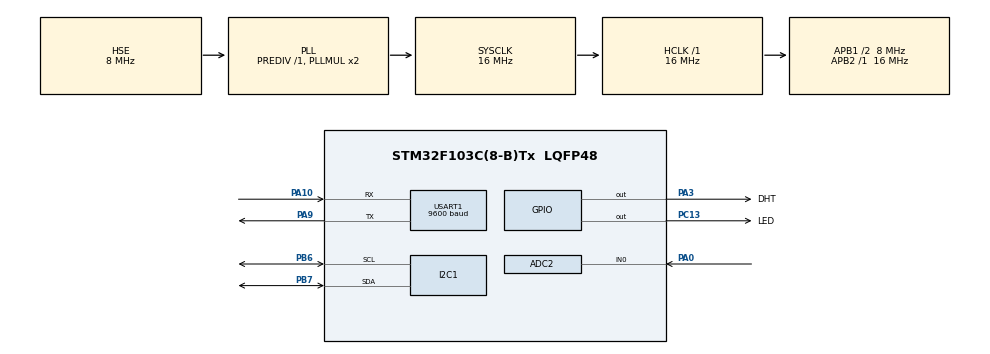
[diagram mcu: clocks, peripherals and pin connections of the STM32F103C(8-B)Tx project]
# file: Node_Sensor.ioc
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ADC1.Channel-2\#ChannelRegularConversion=ADC_CHANNEL_0
ADC1.NbrOfConversionFlag=1
ADC1.Rank-2\#ChannelRegularConversion=1
ADC1.SamplingTime-2\#ChannelRegularConversion=ADC_SAMPLETIME_1CYCLE_5
ADC1.master=1
ADC2.Channel-0\#ChannelRegularConversion=ADC_CHANNEL_0
ADC2.NbrOfConversionFlag=1
ADC2.Rank-0\#ChannelRegularConversion=1
ADC2.SamplingTime-0\#ChannelRegularConversion=ADC_SAMPLETIME_1CYCLE_5
Mcu.Family=STM32F1
Mcu.Name=STM32F103C(8-B)Tx
Mcu.Package=LQFP48
NVIC.PriorityGroup=NVIC_PRIORITYGROUP_4
NVIC.TIM2_IRQn=true\:0\:0\:false\:false\:true\:true\:true\:true
PA0-WKUP.Signal=ADCx_IN0
PA10.Mode=Asynchronous
PA10.Signal=USART1_RX
PA13.Mode=Serial_Wire
PA13.Signal=SYS_JTMS-SWDIO
PA14.Mode=Serial_Wire
PA14.Signal=SYS_JTCK-SWCLK
PA3.GPIO_Label=DHT
PA3.Signal=GPIO_Output
PA9.Mode=Asynchronous
PA9.Signal=USART1_TX
PB6.Mode=I2C
PB6.Signal=I2C1_SCL
PB7.Mode=I2C
PB7.Signal=I2C1_SDA
PC13-TAMPER-RTC.GPIO_Label=LED
PC13-TAMPER-RTC.GPIO_PuPd=GPIO_PULLUP
PC13-TAMPER-RTC.Signal=GPIO_Output
PD0-OSC_IN.Mode=HSE-External-Oscillator
PD0-OSC_IN.Signal=RCC_OSC_IN
PD1-OSC_OUT.Mode=HSE-External-Oscillator
PD1-OSC_OUT.Signal=RCC_OSC_OUT
ProjectManager.HeapSize=0x200
ProjectManager.StackSize=0x400
ProjectManager.TargetToolchain=STM32CubeIDE
RCC.AHBFreq_Value=16000000
RCC.APB1CLKDivider=RCC_HCLK_DIV2
RCC.APB1Freq_Value=8000000
RCC.APB1TimFreq_Value=16000000
RCC.APB2Freq_Value=16000000
RCC.APB2TimFreq_Value=16000000
RCC.HCLKFreq_Value=16000000
RCC.PLLSourceVirtual=RCC_PLLSOURCE_HSE
RCC.SYSCLKFreq_VALUE=16000000
RCC.SYSCLKSource=RCC_SYSCLKSOURCE_PLLCLK
RCC.USBFreq_Value=16000000
SH.ADCx_IN0.0=ADC2_IN0,IN0
SH.ADCx_IN0.1=ADC1_IN0,IN0
TIM2.Period=1000 - 1
TIM2.Prescaler=16000 - 1
TIM2.TIM_MasterOutputTrigger=TIM_TRGO_RESET
TIM3.Period=0xFFFF - 1
TIM3.Prescaler=16 - 1
USART1.BaudRate=9600
USART1.VirtualMode=VM_ASYNC
VP_TIM2_VS_ClockSourceINT.Mode=Internal
VP_TIM3_VS_ClockSourceINT.Mode=Internal
board=custom

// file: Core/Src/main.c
/* USER CODE BEGIN Header */
/**
  ******************************************************************************
  * @file           : main.c
  * @brief          : Main program body
  ******************************************************************************
  * @attention
  *
  * Copyright (c) 2023 STMicroelectronics.
  * All rights reserved.
  *
  * This software is licensed under terms that can be found in the LICENSE file
  * in the root directory of this software component.
  * If no LICENSE file comes with this software, it is provided AS-IS.
  *
  ******************************************************************************
  */
/* USER CODE END Header */
#include "main.h"

/* USER CODE BEGIN Includes */
#include "timer.h"
#include "DHT.h"
#include "global.h"
#include "input.h"
#include "lcd_i2c.h"
#include "fsm.h"
#include "zigbee.h"

/* USER CODE END Includes */

ADC_HandleTypeDef hadc1;
ADC_HandleTypeDef hadc2;

I2C_HandleTypeDef hi2c1;

TIM_HandleTypeDef htim2;
TIM_HandleTypeDef htim3;

UART_HandleTypeDef huart1;

void SystemClock_Config(void);
static void MX_GPIO_Init(void);
static void MX_TIM2_Init(void);
static void MX_TIM3_Init(void);
static void MX_I2C1_Init(void);
static void MX_USART1_UART_Init(void);
static void MX_ADC1_Init(void);
static void MX_ADC2_Init(void);

int main(void)
{

  /* MCU Configuration--------------------------------------------------------*/

  /* Reset of all peripherals, Initializes the Flash interface and the Systick. */
  HAL_Init();

  /* Configure the system clock */
  SystemClock_Config();

  /* Initialize all configured peripherals */
  MX_GPIO_Init();
  MX_TIM2_Init();
  MX_TIM3_Init();
  MX_I2C1_Init();
  MX_USART1_UART_Init();
  MX_ADC1_Init();
  MX_ADC2_Init();
  /* USER CODE BEGIN 2 */

  HAL_TIM_Base_Start_IT(&htim2);
  HAL_TIM_Base_Start(&htim3);

  TM_Init(&htim2, 1000);
  TM_SetTime_ms(1000);

  IN_Init(&hadc1, &hadc2);

  DHT_Init(&_dht, DHT_GPIO_Port, DHT_Pin, &htim3);

  ZB_Init(&huart1);

  CLCD_Init(&hi2c1, 0x27, 2, 16);

  FSM_Init();

  /* USER CODE END 2 */

  /* Infinite loop */
  /* USER CODE BEGIN WHILE */
  while (1)
  {
	  if(TM_IsFlag()){

		  if(_time_read_data >= 1) _time_read_data -= 1;

		  FSM_SystemControl();

		  HAL_GPIO_TogglePin(LED_GPIO_Port, LED_Pin);

		  CLCD_PrintNumBuffer(1, 0, _time_read_data);
		  CLCD_DisplayScreen();

	  }

    /* USER CODE END WHILE */

  }
}

void SystemClock_Config(void)
{
  RCC_OscInitTypeDef RCC_OscInitStruct = {0};
  RCC_ClkInitTypeDef RCC_ClkInitStruct = {0};
  RCC_PeriphCLKInitTypeDef PeriphClkInit = {0};

  /** Initializes the RCC Oscillators according to the specified parameters
  * in the RCC_OscInitTypeDef structure.
  */
  RCC_OscInitStruct.OscillatorType = RCC_OSCILLATORTYPE_HSE;
  RCC_OscInitStruct.HSEState = RCC_HSE_ON;
  RCC_OscInitStruct.HSEPredivValue = RCC_HSE_PREDIV_DIV1;
  RCC_OscInitStruct.HSIState = RCC_HSI_ON;
  RCC_OscInitStruct.PLL.PLLState = RCC_PLL_ON;
  RCC_OscInitStruct.PLL.PLLSource = RCC_PLLSOURCE_HSE;
  RCC_OscInitStruct.PLL.PLLMUL = RCC_PLL_MUL2;
  if (HAL_RCC_OscConfig(&RCC_OscInitStruct) != HAL_OK)
  {
    Error_Handler();
  }

  /** Initializes the CPU, AHB and APB buses clocks
  */
  RCC_ClkInitStruct.ClockType = RCC_CLOCKTYPE_HCLK|RCC_CLOCKTYPE_SYSCLK
                              |RCC_CLOCKTYPE_PCLK1|RCC_CLOCKTYPE_PCLK2;
  RCC_ClkInitStruct.SYSCLKSource = RCC_SYSCLKSOURCE_PLLCLK;
  RCC_ClkInitStruct.AHBCLKDivider = RCC_SYSCLK_DIV1;
  RCC_ClkInitStruct.APB1CLKDivider = RCC_HCLK_DIV2;
  RCC_ClkInitStruct.APB2CLKDivider = RCC_HCLK_DIV1;

  if (HAL_RCC_ClockConfig(&RCC_ClkInitStruct, FLASH_LATENCY_0) != HAL_OK)
  {
    Error_Handler();
  }
  PeriphClkInit.PeriphClockSelection = RCC_PERIPHCLK_ADC;
  PeriphClkInit.AdcClockSelection = RCC_ADCPCLK2_DIV2;
  if (HAL_RCCEx_PeriphCLKConfig(&PeriphClkInit) != HAL_OK)
  {
    Error_Handler();
  }
}

static void MX_ADC1_Init(void)
{

  ADC_ChannelConfTypeDef sConfig = {0};

  /** Common config
  */
  hadc1.Instance = ADC1;
  hadc1.Init.ScanConvMode = ADC_SCAN_DISABLE;
  hadc1.Init.ContinuousConvMode = DISABLE;
  hadc1.Init.DiscontinuousConvMode = DISABLE;
  hadc1.Init.ExternalTrigConv = ADC_SOFTWARE_START;
  hadc1.Init.DataAlign = ADC_DATAALIGN_RIGHT;
  hadc1.Init.NbrOfConversion = 1;
  if (HAL_ADC_Init(&hadc1) != HAL_OK)
  {
    Error_Handler();
  }

  /** Configure Regular Channel
  */
  sConfig.Channel = ADC_CHANNEL_0;
  sConfig.Rank = ADC_REGULAR_RANK_1;
  sConfig.SamplingTime = ADC_SAMPLETIME_1CYCLE_5;
  if (HAL_ADC_ConfigChannel(&hadc1, &sConfig) != HAL_OK)
  {
    Error_Handler();
  }

}

static void MX_ADC2_Init(void)
{

  ADC_ChannelConfTypeDef sConfig = {0};

  /** Common config
  */
  hadc2.Instance = ADC2;
  hadc2.Init.ScanConvMode = ADC_SCAN_DISABLE;
  hadc2.Init.ContinuousConvMode = DISABLE;
  hadc2.Init.DiscontinuousConvMode = DISABLE;
  hadc2.Init.ExternalTrigConv = ADC_SOFTWARE_START;
  hadc2.Init.DataAlign = ADC_DATAALIGN_RIGHT;
  hadc2.Init.NbrOfConversion = 1;
  if (HAL_ADC_Init(&hadc2) != HAL_OK)
  {
    Error_Handler();
  }

  /** Configure Regular Channel
  */
  sConfig.Channel = ADC_CHANNEL_0;
  sConfig.Rank = ADC_REGULAR_RANK_1;
  sConfig.SamplingTime = ADC_SAMPLETIME_1CYCLE_5;
  if (HAL_ADC_ConfigChannel(&hadc2, &sConfig) != HAL_OK)
  {
    Error_Handler();
  }

}

static void MX_I2C1_Init(void)
{

  hi2c1.Instance = I2C1;
  hi2c1.Init.ClockSpeed = 100000;
  hi2c1.Init.DutyCycle = I2C_DUTYCYCLE_2;
  hi2c1.Init.OwnAddress1 = 0;
  hi2c1.Init.AddressingMode = I2C_ADDRESSINGMODE_7BIT;
  hi2c1.Init.DualAddressMode = I2C_DUALADDRESS_DISABLE;
  hi2c1.Init.OwnAddress2 = 0;
  hi2c1.Init.GeneralCallMode = I2C_GENERALCALL_DISABLE;
  hi2c1.Init.NoStretchMode = I2C_NOSTRETCH_DISABLE;
  if (HAL_I2C_Init(&hi2c1) != HAL_OK)
  {
    Error_Handler();
  }

}

static void MX_TIM2_Init(void)
{

  TIM_ClockConfigTypeDef sClockSourceConfig = {0};
  TIM_MasterConfigTypeDef sMasterConfig = {0};

  htim2.Instance = TIM2;
  htim2.Init.Prescaler = 16000 - 1;
  htim2.Init.CounterMode = TIM_COUNTERMODE_UP;
  htim2.Init.Period = 1000 - 1;
  htim2.Init.ClockDivision = TIM_CLOCKDIVISION_DIV1;
  htim2.Init.AutoReloadPreload = TIM_AUTORELOAD_PRELOAD_DISABLE;
  if (HAL_TIM_Base_Init(&htim2) != HAL_OK)
  {
    Error_Handler();
  }
  sClockSourceConfig.ClockSource = TIM_CLOCKSOURCE_INTERNAL;
  if (HAL_TIM_ConfigClockSource(&htim2, &sClockSourceConfig) != HAL_OK)
  {
    Error_Handler();
  }
  sMasterConfig.MasterOutputTrigger = TIM_TRGO_RESET;
  sMasterConfig.MasterSlaveMode = TIM_MASTERSLAVEMODE_DISABLE;
  if (HAL_TIMEx_MasterConfigSynchronization(&htim2, &sMasterConfig) != HAL_OK)
  {
    Error_Handler();
  }

}

static void MX_TIM3_Init(void)
{

  TIM_ClockConfigTypeDef sClockSourceConfig = {0};
  TIM_MasterConfigTypeDef sMasterConfig = {0};

  htim3.Instance = TIM3;
  htim3.Init.Prescaler = 16 - 1;
  htim3.Init.CounterMode = TIM_COUNTERMODE_UP;
  htim3.Init.Period = 0xFFFF - 1;
  htim3.Init.ClockDivision = TIM_CLOCKDIVISION_DIV1;
  htim3.Init.AutoReloadPreload = TIM_AUTORELOAD_PRELOAD_DISABLE;
  if (HAL_TIM_Base_Init(&htim3) != HAL_OK)
  {
    Error_Handler();
  }
  sClockSourceConfig.ClockSource = TIM_CLOCKSOURCE_INTERNAL;
  if (HAL_TIM_ConfigClockSource(&htim3, &sClockSourceConfig) != HAL_OK)
  {
    Error_Handler();
  }
  sMasterConfig.MasterOutputTrigger = TIM_TRGO_RESET;
  sMasterConfig.MasterSlaveMode = TIM_MASTERSLAVEMODE_DISABLE;
  if (HAL_TIMEx_MasterConfigSynchronization(&htim3, &sMasterConfig) != HAL_OK)
  {
    Error_Handler();
  }

}

static void MX_USART1_UART_Init(void)
{

  huart1.Instance = USART1;
  huart1.Init.BaudRate = 9600;
  huart1.Init.WordLength = UART_WORDLENGTH_8B;
  huart1.Init.StopBits = UART_STOPBITS_1;
  huart1.Init.Parity = UART_PARITY_NONE;
  huart1.Init.Mode = UART_MODE_TX_RX;
  huart1.Init.HwFlowCtl = UART_HWCONTROL_NONE;
  huart1.Init.OverSampling = UART_OVERSAMPLING_16;
  if (HAL_UART_Init(&huart1) != HAL_OK)
  {
    Error_Handler();
  }

}

static void MX_GPIO_Init(void)
{
  GPIO_InitTypeDef GPIO_InitStruct = {0};

  /* GPIO Ports Clock Enable */
  __HAL_RCC_GPIOC_CLK_ENABLE();
  __HAL_RCC_GPIOD_CLK_ENABLE();
  __HAL_RCC_GPIOA_CLK_ENABLE();
  __HAL_RCC_GPIOB_CLK_ENABLE();

  /*Configure GPIO pin Output Level */
  HAL_GPIO_WritePin(LED_GPIO_Port, LED_Pin, GPIO_PIN_RESET);

  /*Configure GPIO pin Output Level */
  HAL_GPIO_WritePin(DHT_GPIO_Port, DHT_Pin, GPIO_PIN_RESET);

  /*Configure GPIO pin : LED_Pin */
  GPIO_InitStruct.Pin = LED_Pin;
  GPIO_InitStruct.Mode = GPIO_MODE_OUTPUT_PP;
  GPIO_InitStruct.Pull = GPIO_PULLUP;
  GPIO_InitStruct.Speed = GPIO_SPEED_FREQ_LOW;
  HAL_GPIO_Init(LED_GPIO_Port, &GPIO_InitStruct);

  /*Configure GPIO pin : DHT_Pin */
  GPIO_InitStruct.Pin = DHT_Pin;
  GPIO_InitStruct.Mode = GPIO_MODE_OUTPUT_PP;
  GPIO_InitStruct.Pull = GPIO_NOPULL;
  GPIO_InitStruct.Speed = GPIO_SPEED_FREQ_LOW;
  HAL_GPIO_Init(DHT_GPIO_Port, &GPIO_InitStruct);

}

/* USER CODE BEGIN 4 */
//void USARTx_DMA_TX_IRQHandler(void){
//	HAL_DMA_IRQHandler(&hdma_usart1_tx);
//}
//
//void USARTx_IRQHandler(void){
//	HAL_UART_IRQHandler(&huart1);
//}
/* USER CODE END 4 */

void Error_Handler(void)
{
  __disable_irq();
  while (1)
  {
  }
}
